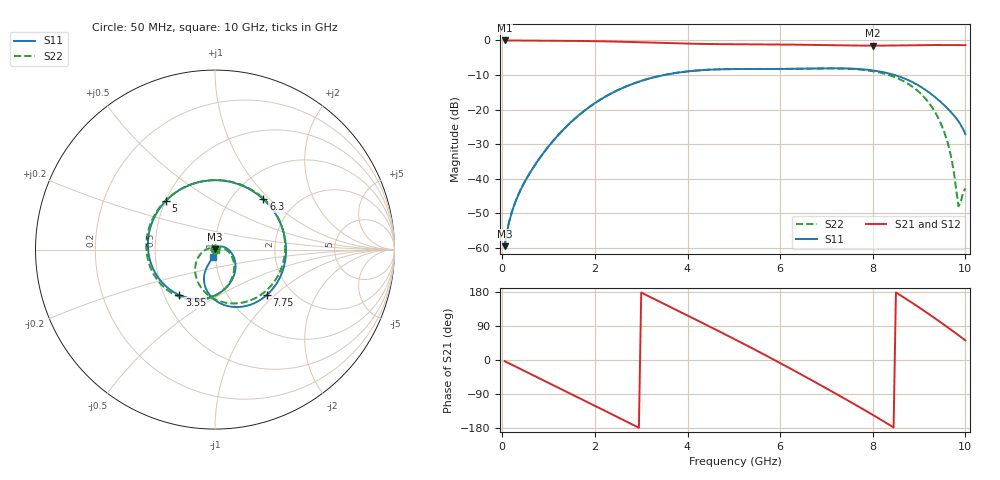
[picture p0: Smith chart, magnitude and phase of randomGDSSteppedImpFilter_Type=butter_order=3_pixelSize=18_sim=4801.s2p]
! freq	dB(S11)	phase(S11)	dB(S12)	phase(S12)
!  dB(S21)	phase(S21)	dB(S22)	phase(S22)
!S-par simulation data
#  GHz  S  DB  R 50
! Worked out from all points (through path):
!   200 points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, 50 MHz to 10 GHz, reference 50 ohm
!   highest |S21| = -0.01 dB at 50 MHz (marker M1); lowest = -1.5 dB at 8 GHz (marker M2)
!   group delay of S21, straight-line fit = 181 ps
!   lowest |S11| = -59.4 dB at 50 MHz (marker M3), VSWR 1.00, Z = 50.1 + j0.0861 ohm
!   |S11| at or under -10 dB: start of sweep to 3.494 GHz; 8.473 GHz to end of sweep
!   |S22| runs from -59.3 to -8.1 dB; largest |S21 - S12| = 0
!   S11 on the Smith chart (normalised r, x): 50 MHz: 1.00, +0.00; 3.55 GHz: 0.60, -0.34; 5 GHz: 0.50, +0.32; 6.3 GHz: 1.39, +0.92; 7.75 GHz: 1.50, -0.89; 10 GHz: 0.97, -0.08
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0.05  -59.45 53.8  -0.01 -3.1  -0.01 -3.1  -59.32 58.1
0.25  -47.87 70.1  -0.02 -15.1  -0.02 -15.1  -47.78 63.8
0.55  -39.31 61.1  -0.05 -33.1  -0.05 -33.1  -39.31 50.8
1.2  -27.45 23.8  -0.09 -72.2  -0.09 -72.2  -27.48 13.5
1.75  -20.55 -11.5  -0.16 -105.6  -0.16 -105.6  -20.56 -18.6
2.6  -13.72 -66.7  -0.38 -157.6  -0.38 -157.6  -13.70 -68.3
3.4  -10.26 -118.4  -0.70 153.6  -0.70 153.6  -10.23 -114.2
3.55  -9.85 -128.2  -0.76 144.5  -0.76 144.5  -9.82 -122.7
4.3  -8.61 -177.3  -1.00 99.1  -1.00 99.1  -8.56 -164.4
5  -8.28 135.3  -1.11 55.9  -1.11 55.9  -8.24 156.6
5.05  -8.27 131.9  -1.11 52.8  -1.11 52.8  -8.23 153.8
5.7  -8.26 86.8  -1.15 11.5  -1.15 11.5  -8.24 116.1
6.3  -8.20 46.1  -1.22 -27.9  -1.22 -27.9  -8.21 78.4
6.7  -8.11 20.5  -1.29 -54.7  -1.29 -54.7  -8.14 51.4
7.75  -8.31 -40.9  -1.49 -127.0  -1.49 -127.0  -8.45 -25.1
8  -8.66 -54.6  -1.50 -144.8  -1.50 -144.8  -8.89 -44.3
8.35  -9.55 -73.2  -1.48 -170.5  -1.48 -170.5  -10.01 -71.9
8.8  -11.67 -95.1  -1.41 154.9  -1.41 154.9  -12.84 -109.2
9.3  -15.89 -112.2  -1.33 113.8  -1.33 113.8  -19.73 -155.2
9.65  -20.15 -114.5  -1.33 83.3  -1.33 83.3  -31.21 162.9
9.85  -23.36 -112.0  -1.35 65.4  -1.35 65.4  -47.92 70.8
10  -27.07 -107.0  -1.37 51.7  -1.37 51.7  -42.76 -37.3
